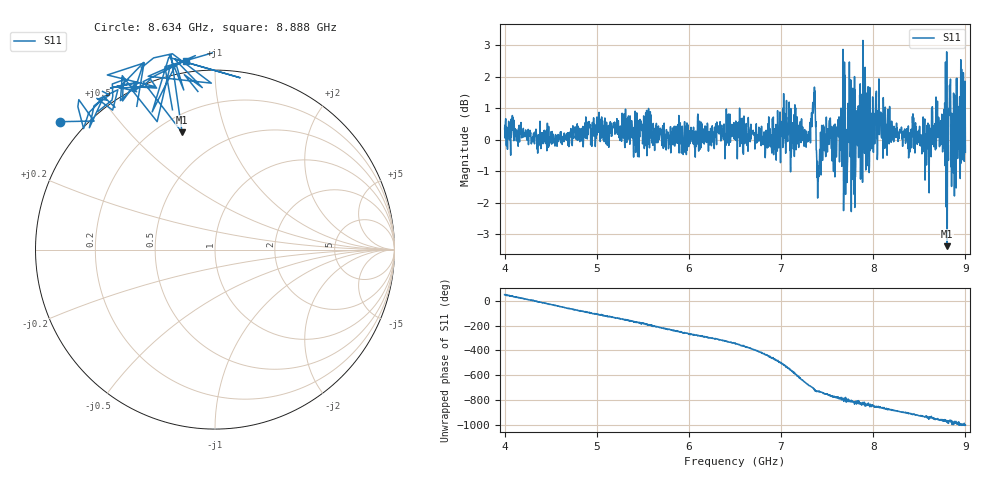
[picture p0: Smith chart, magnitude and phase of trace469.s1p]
! Created with skrf 1.8.0 (http://scikit-rf.org).
# Hz S RI R 50.0
!freq ReS11 ImS11
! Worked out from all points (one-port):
!   1601 points, 4 GHz to 9 GHz, reference 50 ohm
!   lowest |S11| = -3.4 dB at 8.803 GHz (marker M1), VSWR 5.21, Z = 14.8 + j35.7 ohm
!   |S11| at or under -10 dB: nowhere
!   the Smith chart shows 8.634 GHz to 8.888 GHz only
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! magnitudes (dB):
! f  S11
! 4 GHz  0.3
! 4.625 GHz  -0.1
! 5.25 GHz  0.0
! 5.875 GHz  0.0
! 6.5 GHz  0.2
! 7.069 GHz  0.1
! 7.125 GHz  0.5
! 7.284 GHz  0.0
! 7.353 GHz  1.0
! 7.409 GHz  -1.0
! 7.516 GHz  0.3
! 7.578 GHz  -0.2
! 7.65 GHz  1.0
! 7.703 GHz  0.3
! 7.75 GHz  -0.5
! 7.788 GHz  -0.8
! 7.844 GHz  1.0
! 7.981 GHz  -0.1
! 8.05 GHz  0.9
! 8.375 GHz  -0.1
! 8.444 GHz  0.1
! 8.588 GHz  -0.1
! 8.656 GHz  0.4
! 8.803 GHz  -3.4
! 8.834 GHz  1.5
! 8.875 GHz  0.8
! 8.972 GHz  0.5
! 9 GHz  -0.4
